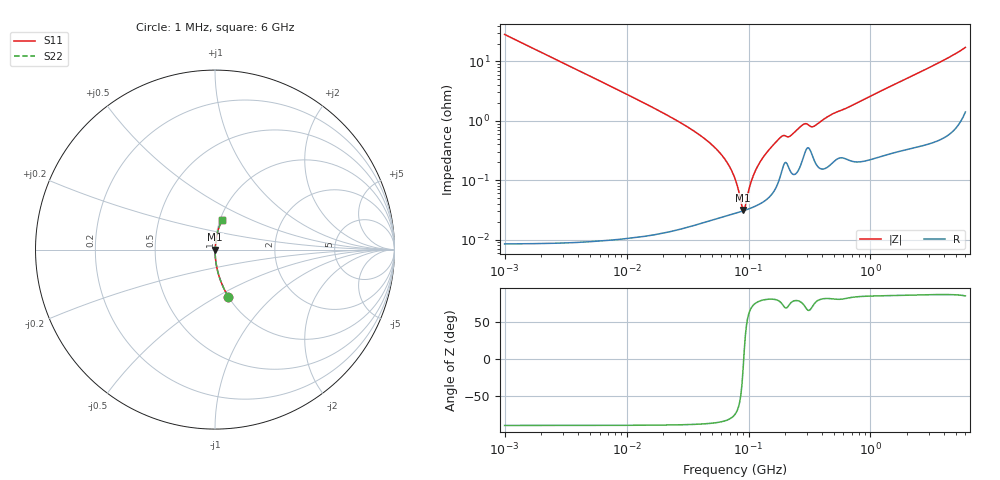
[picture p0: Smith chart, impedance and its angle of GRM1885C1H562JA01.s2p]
!Murata Part Number: GRM1885C1H562JA01
!These Parameters are Measured in Series Mode Connection
!Data Generated on Mar 30, 2021
!  o--ll--o
!Port1  Port2
!  o------o
!Operation Temp=25[degC], DC Bias Voltage=0[V]
!Freq. Start=1000[kHz] Stop=6[GHz] 401[Steps]
# Hz S RI R 50
!Freq.(Hz) S11(Real) S11(Imag) S21(Real) S21(Imag) S12(Real) S12(Imag) S22(Real) S22(Imag)
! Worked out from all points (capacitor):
!   401 points, 1 MHz to 6 GHz, reference 50 ohm
!   read as one part in series: C = 5.59 nF near 1.044 MHz
!   lowest |Z| = 31.3 mohm at 90.2 MHz (marker M1)
!   series resonance near 91.33 MHz, so ESL is about 540 pH
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1000000  0.075 -0.2633  0.925 0.2633  0.925 0.2633  0.075 -0.2633
2005636  0.0198 -0.1391  0.9802 0.1391  0.9802 0.1391  0.0198 -0.1391
4293785  0.00444 -0.0658  0.9956 0.0658  0.9956 0.0658  0.00444 -0.0658
1.843659e7  0.000342 -0.0148  0.9997 0.0148  0.9997 0.0148  0.000342 -0.0148
3.389622e7  0.000219 -0.00719  0.9998 0.00719  0.9998 0.00719  0.000219 -0.00719
5.013812e7  0.000227 -0.00393  0.9998 0.00393  0.9998 0.00393  0.000227 -0.00393
6.508975e7  0.000252 -0.00213  0.9997 0.00213  0.9997 0.00213  0.000252 -0.00213
7.745967e7  0.000276 -0.00102  0.9997 0.00102  0.9997 0.00102  0.000276 -0.00102
8.825674e7  0.000299 -0.000212  0.9997 0.000212  0.9997 0.000212  0.000299 -0.000212
9.019724e7  0.000304 -7.72e-05  0.9997 7.72e-05  0.9997 7.72e-05  0.000304 -7.72e-05
9.420718e7  0.000313 0.000193  0.9997 -0.000193  0.9997 -0.000193  0.000313 0.000193
1.050294e8  0.000341 0.000877  0.9997 -0.000877  0.9997 -0.000877  0.000341 0.000877
1.145757e8  0.000369 0.00144  0.9996 -0.00144  0.9996 -0.00144  0.000369 0.00144
1.305463e8  0.000429 0.00232  0.9996 -0.00232  0.9996 -0.00232  0.000429 0.00232
1.520136e8  0.000561 0.00346  0.9994 -0.00346  0.9994 -0.00346  0.000561 0.00346
1.848803e8  0.00131 0.0052  0.9987 -0.0052  0.9987 -0.0052  0.00131 0.0052
2.200158e8  0.00145 0.00535  0.9986 -0.00535  0.9986 -0.00535  0.00145 0.00535
2.794814e8  0.00237 0.00826  0.9976 -0.00826  0.9976 -0.00826  0.00237 0.00826
3.325952e8  0.00268 0.00742  0.9973 -0.00742  0.9973 -0.00742  0.00268 0.00742
4.919634e8  0.00215 0.0129  0.9979 -0.0129  0.9979 -0.0129  0.00215 0.0129
1.428092e9  0.00411 0.0369  0.9959 -0.0369  0.9959 -0.0369  0.00411 0.0369
6e9  0.0414 0.1624  0.9586 -0.1624  0.9586 -0.1624  0.0414 0.1624
